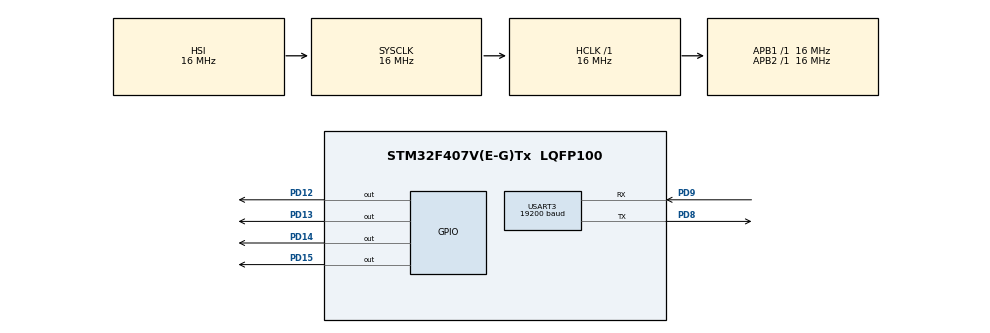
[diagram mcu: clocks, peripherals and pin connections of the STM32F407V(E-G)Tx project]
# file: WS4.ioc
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Mcu.Family=STM32F4
Mcu.Name=STM32F407V(E-G)Tx
Mcu.Package=LQFP100
NVIC.PriorityGroup=NVIC_PRIORITYGROUP_4
PD12.Signal=GPIO_Output
PD13.Signal=GPIO_Output
PD14.Signal=GPIO_Output
PD15.Signal=GPIO_Output
PD8.Mode=Asynchronous
PD8.Signal=USART3_TX
PD9.Mode=Asynchronous
PD9.Signal=USART3_RX
ProjectManager.HeapSize=0x200
ProjectManager.StackSize=0x400
ProjectManager.TargetToolchain=STM32CubeIDE
RCC.AHBFreq_Value=16000000
RCC.APB1Freq_Value=16000000
RCC.APB2Freq_Value=16000000
RCC.CortexFreq_Value=16000000
RCC.HSE_VALUE=25000000
RCC.HSI_VALUE=16000000
RCC.LSE_VALUE=32768
RCC.SYSCLKFreq_VALUE=16000000
RCC.VCOOutputFreq_Value=192000000
USART3.BaudRate=19200
USART3.VirtualMode=VM_ASYNC
board=custom

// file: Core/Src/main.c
/* USER CODE BEGIN Header */
/**
  ******************************************************************************
  * @file           : main.c
  * @brief          : Main program body
  ******************************************************************************
  * @attention
  *
  * Copyright (c) 2024 STMicroelectronics.
  * All rights reserved.
  *
  * This software is licensed under terms that can be found in the LICENSE file
  * in the root directory of this software component.
  * If no LICENSE file comes with this software, it is provided AS-IS.
  *
  ******************************************************************************
  */
/* USER CODE END Header */
#include "main.h"
#include <stdbool.h>

UART_HandleTypeDef huart3;

void SystemClock_Config(void);
static void MX_GPIO_Init(void);
static void MX_USART3_UART_Init(void);

int main(void)
{

  /* MCU Configuration--------------------------------------------------------*/

  /* Reset of all peripherals, Initializes the Flash interface and the Systick. */
  HAL_Init();

  /* Configure the system clock */
  SystemClock_Config();

  /* Initialize all configured peripherals */
  MX_GPIO_Init();
  MX_USART3_UART_Init();
  /* USER CODE BEGIN 2 */
  uint8_t buf[1];
  HAL_StatusTypeDef res;
  bool green = false;
  bool orange = false;
  bool red = false;
  bool blue = false;
  GPIO_PinState state;
  /* USER CODE END 2 */

  /* Infinite loop */
  /* USER CODE BEGIN WHILE */
  while (1)
  {

	  res = HAL_UART_Receive(&huart3, buf, 1, 10);
	  if (res == HAL_OK) {
		  switch (buf[0]){
			  case '1':
				  if (!green) {
					  HAL_GPIO_WritePin(GPIOD, GPIO_PIN_12, GPIO_PIN_SET);
					  HAL_UART_Transmit(&huart3, (uint8_t *)" - g on\r\n", 9, 100);
					  green = true;
				  } else {
					  HAL_GPIO_WritePin(GPIOD, GPIO_PIN_12, GPIO_PIN_RESET);
					  HAL_UART_Transmit(&huart3, (uint8_t *)" - g off\r\n", 10, 100);
					  green = false;
				  }
				  break;
			  case '2':
				  if (!orange) {
					  HAL_GPIO_WritePin(GPIOD, GPIO_PIN_13, GPIO_PIN_SET);
					  HAL_UART_Transmit(&huart3, (uint8_t *)" - o on\r\n", 9, 100);
					  orange = true;
				  } else {
					  HAL_GPIO_WritePin(GPIOD, GPIO_PIN_13, GPIO_PIN_RESET);
					  HAL_UART_Transmit(&huart3, (uint8_t *)" - o off\r\n", 10, 100);
					  orange = false;
				  }
				  break;
			  case '3':
				  if (!red) {
					  HAL_GPIO_WritePin(GPIOD, GPIO_PIN_14, GPIO_PIN_SET);
					  HAL_UART_Transmit(&huart3, (uint8_t *)" - r on\r\n", 9, 100);
					  red = true;
				  } else {
					  HAL_GPIO_WritePin(GPIOD, GPIO_PIN_14, GPIO_PIN_RESET);
					  HAL_UART_Transmit(&huart3, (uint8_t *)" - r off\r\n", 10, 100);
					  red = false;
				  }
				  break;
			  case '4':
				  if (!blue) {
					  HAL_GPIO_WritePin(GPIOD, GPIO_PIN_15, GPIO_PIN_SET);
					  HAL_UART_Transmit(&huart3, (uint8_t *)" - b on\r\n", 9, 100);
					  blue = true;
				  } else {
					  HAL_GPIO_WritePin(GPIOD, GPIO_PIN_15, GPIO_PIN_RESET);
					  HAL_UART_Transmit(&huart3, (uint8_t *)" - b off\r\n", 10, 100);
					  blue = false;
				  }
				  break;
			  case '5':
				  HAL_GPIO_WritePin(GPIOD, GPIO_PIN_12, GPIO_PIN_SET);
				  HAL_GPIO_WritePin(GPIOD, GPIO_PIN_13, GPIO_PIN_SET);
				  HAL_GPIO_WritePin(GPIOD, GPIO_PIN_14, GPIO_PIN_SET);
				  HAL_GPIO_WritePin(GPIOD, GPIO_PIN_15, GPIO_PIN_SET);
				  orange = true;
				  red = true;
				  blue = true;
				  green = true;
				  HAL_UART_Transmit(&huart3, (uint8_t *)" - all ON\r\n", 11, 100);
				  break;
			  case '6':
				  HAL_GPIO_WritePin(GPIOD, GPIO_PIN_12, GPIO_PIN_RESET);
				  HAL_GPIO_WritePin(GPIOD, GPIO_PIN_13, GPIO_PIN_RESET);
				  HAL_GPIO_WritePin(GPIOD, GPIO_PIN_14, GPIO_PIN_RESET);
				  HAL_GPIO_WritePin(GPIOD, GPIO_PIN_15, GPIO_PIN_RESET);
				  orange = false;
				  red = false;
				  blue = false;
				  green = false;
				  HAL_UART_Transmit(&huart3, (uint8_t *)" - all OFF\r\n", 12, 100);
				  break;
			  default:
				  HAL_UART_Transmit(&huart3, (uint8_t *)" - unknown\r\n", 12, 100);
				  break;
		  }
	  }
    /* USER CODE END WHILE */

  }
}

void SystemClock_Config(void)
{
  RCC_OscInitTypeDef RCC_OscInitStruct = {0};
  RCC_ClkInitTypeDef RCC_ClkInitStruct = {0};

  /** Configure the main internal regulator output voltage
  */
  __HAL_RCC_PWR_CLK_ENABLE();
  __HAL_PWR_VOLTAGESCALING_CONFIG(PWR_REGULATOR_VOLTAGE_SCALE1);

  /** Initializes the RCC Oscillators according to the specified parameters
  * in the RCC_OscInitTypeDef structure.
  */
  RCC_OscInitStruct.OscillatorType = RCC_OSCILLATORTYPE_HSI;
  RCC_OscInitStruct.HSIState = RCC_HSI_ON;
  RCC_OscInitStruct.HSICalibrationValue = RCC_HSICALIBRATION_DEFAULT;
  RCC_OscInitStruct.PLL.PLLState = RCC_PLL_NONE;
  if (HAL_RCC_OscConfig(&RCC_OscInitStruct) != HAL_OK)
  {
    Error_Handler();
  }

  /** Initializes the CPU, AHB and APB buses clocks
  */
  RCC_ClkInitStruct.ClockType = RCC_CLOCKTYPE_HCLK|RCC_CLOCKTYPE_SYSCLK
                              |RCC_CLOCKTYPE_PCLK1|RCC_CLOCKTYPE_PCLK2;
  RCC_ClkInitStruct.SYSCLKSource = RCC_SYSCLKSOURCE_HSI;
  RCC_ClkInitStruct.AHBCLKDivider = RCC_SYSCLK_DIV1;
  RCC_ClkInitStruct.APB1CLKDivider = RCC_HCLK_DIV1;
  RCC_ClkInitStruct.APB2CLKDivider = RCC_HCLK_DIV1;

  if (HAL_RCC_ClockConfig(&RCC_ClkInitStruct, FLASH_LATENCY_0) != HAL_OK)
  {
    Error_Handler();
  }
}

static void MX_USART3_UART_Init(void)
{

  huart3.Instance = USART3;
  huart3.Init.BaudRate = 19200;
  huart3.Init.WordLength = UART_WORDLENGTH_8B;
  huart3.Init.StopBits = UART_STOPBITS_1;
  huart3.Init.Parity = UART_PARITY_NONE;
  huart3.Init.Mode = UART_MODE_TX_RX;
  huart3.Init.HwFlowCtl = UART_HWCONTROL_NONE;
  huart3.Init.OverSampling = UART_OVERSAMPLING_16;
  if (HAL_UART_Init(&huart3) != HAL_OK)
  {
    Error_Handler();
  }

}

static void MX_GPIO_Init(void)
{
  GPIO_InitTypeDef GPIO_InitStruct = {0};

  /* GPIO Ports Clock Enable */
  __HAL_RCC_GPIOD_CLK_ENABLE();

  /*Configure GPIO pin Output Level */
  HAL_GPIO_WritePin(GPIOD, GPIO_PIN_12|GPIO_PIN_13|GPIO_PIN_14|GPIO_PIN_15, GPIO_PIN_RESET);

  /*Configure GPIO pins : PD12 PD13 PD14 PD15 */
  GPIO_InitStruct.Pin = GPIO_PIN_12|GPIO_PIN_13|GPIO_PIN_14|GPIO_PIN_15;
  GPIO_InitStruct.Mode = GPIO_MODE_OUTPUT_PP;
  GPIO_InitStruct.Pull = GPIO_NOPULL;
  GPIO_InitStruct.Speed = GPIO_SPEED_FREQ_LOW;
  HAL_GPIO_Init(GPIOD, &GPIO_InitStruct);

}

void Error_Handler(void)
{
  __disable_irq();
  while (1)
  {
  }
}
